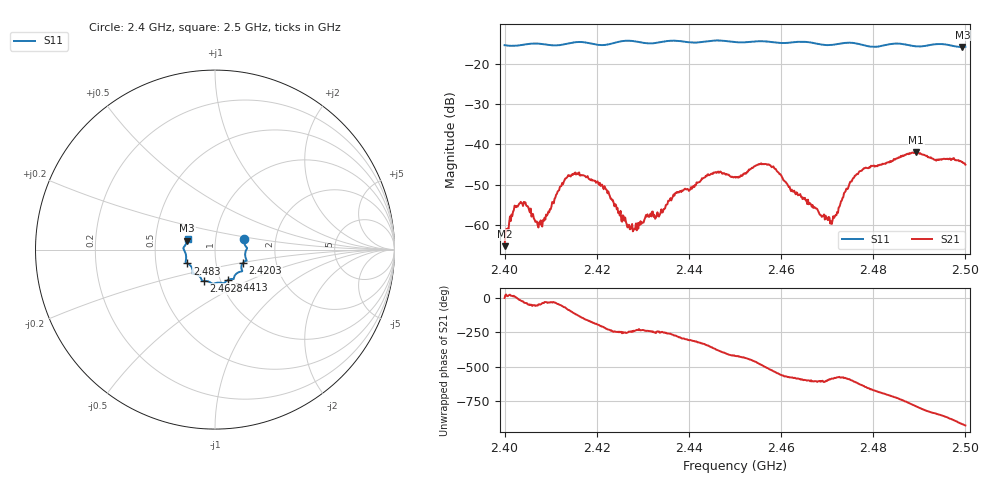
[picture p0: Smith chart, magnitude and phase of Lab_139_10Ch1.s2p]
# Hz S RI R 50
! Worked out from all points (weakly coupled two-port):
!   601 points, 2.4 GHz to 2.5 GHz, reference 50 ohm
!   highest |S21| = -41.89 dB at 2.4893 GHz (marker M1); lowest = -65.3 dB at 2.4 GHz (marker M2)
!   lowest |S11| = -15.8 dB at 2.4993 GHz (marker M3), VSWR 1.39, Z = 36.5 + j3.71 ohm
!   |S11| at or under -10 dB: start of sweep to end of sweep
!   S12 and S22 are empty: the file has one direction only
!   S11 on the Smith chart (normalised r, x): 2.4 GHz: 1.37, +0.16; 2.4203 GHz: 1.35, -0.21; 2.4413 GHz: 1.09, -0.38; 2.4628 GHz: 0.83, -0.30; 2.483 GHz: 0.72, -0.11; 2.5 GHz: 0.73, +0.09
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2.4e9  0.1607 0.057  0.000543 -2.14e-05  0 0  0 0
2.402667e9  0.1658 0.0285  0.00171 -4.59e-05  0 0  0 0
2.404667e9  0.1743 0.0146  0.00136 -0.00111  0 0  0 0
2.407667e9  0.1775 0.00553  0.000646 -0.00079  0 0  0 0
2.413333e9  0.1707 -0.0457  0.000859 -0.00369  0 0  0 0
2.416667e9  0.1761 -0.0614  -0.00336 -0.00245  0 0  0 0
2.420333e9  0.1552 -0.074  -0.00313 0.000922  0 0  0 0
2.427667e9  0.1494 -0.1213  -0.000483 0.000904  0 0  0 0
2.433333e9  0.1081 -0.1483  -0.000544 0.00119  0 0  0 0
2.441333e9  0.0744 -0.168  0.00228 0.00216  0 0  0 0
2.445833e9  0.0501 -0.1884  0.00438 -0.00112  0 0  0 0
2.45e9  0.0293 -0.1838  0.0019 -0.00346  0 0  0 0
2.457e9  -0.0168 -0.1884  -0.00471 -0.00296  0 0  0 0
2.462833e9  -0.0631 -0.1747  -0.00201 0.00175  0 0  0 0
2.466667e9  -0.0742 -0.1675  -0.000686 0.00153  0 0  0 0
2.471167e9  -0.1034 -0.1378  -0.000791 0.000812  0 0  0 0
2.476e9  -0.125 -0.1303  -0.0015 0.00378  0 0  0 0
2.483e9  -0.1548 -0.0769  0.00565 0.00185  0 0  0 0
2.483333e9  -0.157 -0.076  0.00582 0.00151  0 0  0 0
2.489333e9  -0.1609 -0.0368  0.00321 -0.00738  0 0  0 0
2.499333e9  -0.1543 0.0495  -0.00585 0.00155  0 0  0 0
2.5e9  -0.1525 0.0586  -0.00511 0.00229  0 0  0 0
